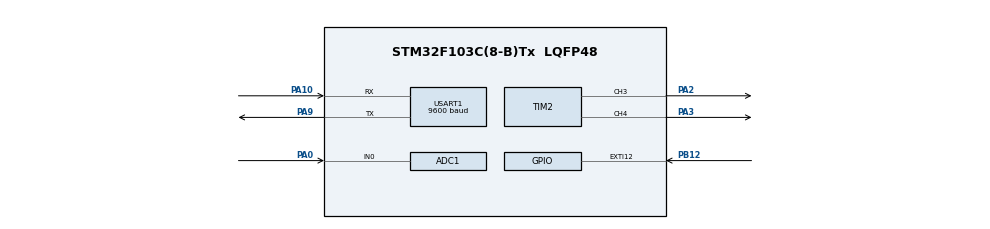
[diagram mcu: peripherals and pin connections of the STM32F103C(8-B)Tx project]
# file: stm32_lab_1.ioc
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ADC1.Channel-1\#ChannelRegularConversion=ADC_CHANNEL_0
ADC1.NbrOfConversionFlag=1
ADC1.Rank-1\#ChannelRegularConversion=1
ADC1.SamplingTime-1\#ChannelRegularConversion=ADC_SAMPLETIME_1CYCLE_5
ADC1.master=1
FREERTOS.Tasks01=defaultTask,0,128,StartDefaultTask,Default,NULL,Dynamic,NULL,NULL
FREERTOS.configUSE_NEWLIB_REENTRANT=1
FREERTOS.configUSE_TIMERS=0
Mcu.Family=STM32F1
Mcu.Name=STM32F103C(8-B)Tx
Mcu.Package=LQFP48
NVIC.EXTI15_10_IRQn=true\:5\:0\:false\:false\:true\:true\:true\:true\:true
NVIC.PriorityGroup=NVIC_PRIORITYGROUP_4
NVIC.TIM4_IRQn=true\:15\:0\:false\:false\:true\:false\:false\:true\:true
NVIC.TimeBase=TIM4_IRQn
NVIC.TimeBaseIP=TIM4
PA0-WKUP.Signal=ADCx_IN0
PA10.Mode=Asynchronous
PA10.Signal=USART1_RX
PA13.Mode=Serial_Wire
PA13.Signal=SYS_JTMS-SWDIO
PA14.Mode=Serial_Wire
PA14.Signal=SYS_JTCK-SWCLK
PA2.Signal=S_TIM2_CH3
PA3.Signal=S_TIM2_CH4
PA9.Mode=Asynchronous
PA9.Signal=USART1_TX
PB12.Signal=GPXTI12
ProjectManager.HeapSize=0x200
ProjectManager.StackSize=0x400
ProjectManager.TargetToolchain=STM32CubeIDE
RCC.APB1Freq_Value=8000000
RCC.APB2Freq_Value=8000000
SH.ADCx_IN0.0=ADC1_IN0,IN0
SH.S_TIM2_CH3.0=TIM2_CH3,PWM Generation3 CH3
SH.S_TIM2_CH4.0=TIM2_CH4,PWM Generation4 CH4
TIM2.Channel-PWM\ Generation3\ CH3=TIM_CHANNEL_3
TIM2.Channel-PWM\ Generation4\ CH4=TIM_CHANNEL_4
USART1.BaudRate=9600
USART1.VirtualMode=VM_ASYNC
VP_FREERTOS_VS_CMSIS_V1.Mode=CMSIS_V1
VP_SYS_VS_tim4.Mode=TIM4
VP_TIM2_VS_ClockSourceINT.Mode=Internal
board=custom

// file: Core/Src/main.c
/* USER CODE BEGIN Header */
/**
  ******************************************************************************
  * @file           : main.c
  * @brief          : Main program body
  ******************************************************************************
  * @attention
  *
  * Copyright (c) 2023 STMicroelectronics.
  * All rights reserved.
  *
  * This software is licensed under terms that can be found in the LICENSE file
  * in the root directory of this software component.
  * If no LICENSE file comes with this software, it is provided AS-IS.
  *
  ******************************************************************************
  */
/* USER CODE END Header */
#include "main.h"
#include "cmsis_os.h"

/* USER CODE BEGIN Includes */
#include <stdbool.h>
#include <string.h>
#include <stdio.h>
/* USER CODE END Includes */

ADC_HandleTypeDef hadc1;

TIM_HandleTypeDef htim2;

UART_HandleTypeDef huart1;

osThreadId defaultTaskHandle;
/* USER CODE BEGIN PV */
osThreadId ledFadeTaskHandle;
osThreadId ledBlinkTaskHandle;
osThreadId buttonTaskHandle;
bool mode_flag = true;
LedMode led_mode = LED_OFF;
/* USER CODE END PV */

void SystemClock_Config(void);
static void MX_GPIO_Init(void);
static void MX_USART1_UART_Init(void);
static void MX_ADC1_Init(void);
static void MX_TIM2_Init(void);
void StartDefaultTask(void const * argument);

/* USER CODE BEGIN PFP */
void LedFadeTask(void const * argument);
void LedBlinkTask(void const * argument);
void ButtonTask(void const * argument);
void SendDataTask(void const * argument);
/* USER CODE END PFP */

int main(void)
{

  /* MCU Configuration--------------------------------------------------------*/

  /* Reset of all peripherals, Initializes the Flash interface and the Systick. */
  HAL_Init();

  /* Configure the system clock */
  SystemClock_Config();

  /* Initialize all configured peripherals */
  MX_GPIO_Init();
  MX_USART1_UART_Init();
  MX_ADC1_Init();
  MX_TIM2_Init();

  /* Create the thread(s) */
  /* definition and creation of defaultTask */
  osThreadDef(defaultTask, StartDefaultTask, osPriorityNormal, 0, 128);
  defaultTaskHandle = osThreadCreate(osThread(defaultTask), NULL);

  /* USER CODE BEGIN RTOS_THREADS */

  osThreadDef(LedFadeTask, LedFadeTask, osPriorityNormal, 0, 128);
  ledFadeTaskHandle = osThreadCreate(osThread(LedFadeTask), NULL);

  osThreadDef(LedBlinkTask, LedBlinkTask, osPriorityNormal, 0, 128);
  ledBlinkTaskHandle = osThreadCreate(osThread(LedBlinkTask), NULL);

  osThreadDef(ButtonTask, ButtonTask, osPriorityNormal, 0, 128);
  buttonTaskHandle = osThreadCreate(osThread(ButtonTask), NULL);

  osThreadDef(SendDataTask, SendDataTask, osPriorityNormal, 0, 128);
  buttonTaskHandle = osThreadCreate(osThread(SendDataTask), NULL);
  /* USER CODE END RTOS_THREADS */

  /* Start scheduler */
  osKernelStart();

  /* We should never get here as control is now taken by the scheduler */
  /* Infinite loop */
  /* USER CODE BEGIN WHILE */
  while (1) { }
  /* USER CODE END 3 */
}

void SystemClock_Config(void)
{
  RCC_OscInitTypeDef RCC_OscInitStruct = {0};
  RCC_ClkInitTypeDef RCC_ClkInitStruct = {0};
  RCC_PeriphCLKInitTypeDef PeriphClkInit = {0};

  /** Initializes the RCC Oscillators according to the specified parameters
  * in the RCC_OscInitTypeDef structure.
  */
  RCC_OscInitStruct.OscillatorType = RCC_OSCILLATORTYPE_HSI;
  RCC_OscInitStruct.HSIState = RCC_HSI_ON;
  RCC_OscInitStruct.HSICalibrationValue = RCC_HSICALIBRATION_DEFAULT;
  RCC_OscInitStruct.PLL.PLLState = RCC_PLL_NONE;
  if (HAL_RCC_OscConfig(&RCC_OscInitStruct) != HAL_OK)
  {
    Error_Handler();
  }

  /** Initializes the CPU, AHB and APB buses clocks
  */
  RCC_ClkInitStruct.ClockType = RCC_CLOCKTYPE_HCLK|RCC_CLOCKTYPE_SYSCLK
                              |RCC_CLOCKTYPE_PCLK1|RCC_CLOCKTYPE_PCLK2;
  RCC_ClkInitStruct.SYSCLKSource = RCC_SYSCLKSOURCE_HSI;
  RCC_ClkInitStruct.AHBCLKDivider = RCC_SYSCLK_DIV1;
  RCC_ClkInitStruct.APB1CLKDivider = RCC_HCLK_DIV1;
  RCC_ClkInitStruct.APB2CLKDivider = RCC_HCLK_DIV1;

  if (HAL_RCC_ClockConfig(&RCC_ClkInitStruct, FLASH_LATENCY_0) != HAL_OK)
  {
    Error_Handler();
  }
  PeriphClkInit.PeriphClockSelection = RCC_PERIPHCLK_ADC;
  PeriphClkInit.AdcClockSelection = RCC_ADCPCLK2_DIV2;
  if (HAL_RCCEx_PeriphCLKConfig(&PeriphClkInit) != HAL_OK)
  {
    Error_Handler();
  }
}

static void MX_ADC1_Init(void)
{

  ADC_ChannelConfTypeDef sConfig = {0};

  /** Common config
  */
  hadc1.Instance = ADC1;
  hadc1.Init.ScanConvMode = ADC_SCAN_DISABLE;
  hadc1.Init.ContinuousConvMode = DISABLE;
  hadc1.Init.DiscontinuousConvMode = DISABLE;
  hadc1.Init.ExternalTrigConv = ADC_SOFTWARE_START;
  hadc1.Init.DataAlign = ADC_DATAALIGN_RIGHT;
  hadc1.Init.NbrOfConversion = 1;
  if (HAL_ADC_Init(&hadc1) != HAL_OK)
  {
    Error_Handler();
  }

  /** Configure Regular Channel
  */
  sConfig.Channel = ADC_CHANNEL_0;
  sConfig.Rank = ADC_REGULAR_RANK_1;
  sConfig.SamplingTime = ADC_SAMPLETIME_1CYCLE_5;
  if (HAL_ADC_ConfigChannel(&hadc1, &sConfig) != HAL_OK)
  {
    Error_Handler();
  }

}

static void MX_TIM2_Init(void)
{

  TIM_ClockConfigTypeDef sClockSourceConfig = {0};
  TIM_MasterConfigTypeDef sMasterConfig = {0};
  TIM_OC_InitTypeDef sConfigOC = {0};

  htim2.Instance = TIM2;
  htim2.Init.Prescaler = 0;
  htim2.Init.CounterMode = TIM_COUNTERMODE_UP;
  htim2.Init.Period = 65535;
  htim2.Init.ClockDivision = TIM_CLOCKDIVISION_DIV1;
  htim2.Init.AutoReloadPreload = TIM_AUTORELOAD_PRELOAD_DISABLE;
  if (HAL_TIM_Base_Init(&htim2) != HAL_OK)
  {
    Error_Handler();
  }
  sClockSourceConfig.ClockSource = TIM_CLOCKSOURCE_INTERNAL;
  if (HAL_TIM_ConfigClockSource(&htim2, &sClockSourceConfig) != HAL_OK)
  {
    Error_Handler();
  }
  if (HAL_TIM_PWM_Init(&htim2) != HAL_OK)
  {
    Error_Handler();
  }
  sMasterConfig.MasterOutputTrigger = TIM_TRGO_RESET;
  sMasterConfig.MasterSlaveMode = TIM_MASTERSLAVEMODE_DISABLE;
  if (HAL_TIMEx_MasterConfigSynchronization(&htim2, &sMasterConfig) != HAL_OK)
  {
    Error_Handler();
  }
  sConfigOC.OCMode = TIM_OCMODE_PWM1;
  sConfigOC.Pulse = 0;
  sConfigOC.OCPolarity = TIM_OCPOLARITY_HIGH;
  sConfigOC.OCFastMode = TIM_OCFAST_DISABLE;
  if (HAL_TIM_PWM_ConfigChannel(&htim2, &sConfigOC, TIM_CHANNEL_3) != HAL_OK)
  {
    Error_Handler();
  }
  if (HAL_TIM_PWM_ConfigChannel(&htim2, &sConfigOC, TIM_CHANNEL_4) != HAL_OK)
  {
    Error_Handler();
  }
  HAL_TIM_MspPostInit(&htim2);

}

static void MX_USART1_UART_Init(void)
{

  huart1.Instance = USART1;
  huart1.Init.BaudRate = 9600;
  huart1.Init.WordLength = UART_WORDLENGTH_8B;
  huart1.Init.StopBits = UART_STOPBITS_1;
  huart1.Init.Parity = UART_PARITY_NONE;
  huart1.Init.Mode = UART_MODE_TX_RX;
  huart1.Init.HwFlowCtl = UART_HWCONTROL_NONE;
  huart1.Init.OverSampling = UART_OVERSAMPLING_16;
  if (HAL_UART_Init(&huart1) != HAL_OK)
  {
    Error_Handler();
  }

}

  static void MX_GPIO_Init(void)
  {
    GPIO_InitTypeDef GPIO_InitStruct = {0};

    /* GPIO Ports Clock Enable */
    __HAL_RCC_GPIOA_CLK_ENABLE();
    __HAL_RCC_GPIOB_CLK_ENABLE();

    /*Configure GPIO pin : PB12 */
    GPIO_InitStruct.Pin = GPIO_PIN_12;
    GPIO_InitStruct.Mode = GPIO_MODE_IT_RISING;
    GPIO_InitStruct.Pull = GPIO_NOPULL;
    HAL_GPIO_Init(GPIOB, &GPIO_InitStruct);

    /* EXTI interrupt init*/
    HAL_NVIC_SetPriority(EXTI15_10_IRQn, 5, 0);
    HAL_NVIC_EnableIRQ(EXTI15_10_IRQn);

  /* USER CODE BEGIN MX_GPIO_Init_2 */
    __HAL_RCC_GPIOC_CLK_ENABLE();
    GPIO_InitStruct.Pin = GPIO_PIN_13;
    GPIO_InitStruct.Mode = GPIO_MODE_OUTPUT_PP;
    GPIO_InitStruct.Pull = GPIO_NOPULL;
    GPIO_InitStruct.Speed = GPIO_SPEED_FREQ_LOW;
    HAL_GPIO_Init(GPIOC, &GPIO_InitStruct);

    GPIO_InitStruct.Pin = GPIO_PIN_0;
    GPIO_InitStruct.Mode = GPIO_MODE_ANALOG;
    GPIO_InitStruct.Pull = GPIO_NOPULL;
    HAL_GPIO_Init(GPIOA, &GPIO_InitStruct);

    GPIO_InitStruct.Pin = GPIO_PIN_2;
    GPIO_InitStruct.Mode = GPIO_MODE_OUTPUT_PP;
    GPIO_InitStruct.Pull = GPIO_NOPULL;
    GPIO_InitStruct.Speed = GPIO_SPEED_FREQ_LOW;
    HAL_GPIO_Init(GPIOA, &GPIO_InitStruct);

    GPIO_InitStruct.Pin = GPIO_PIN_3;
    GPIO_InitStruct.Mode = GPIO_MODE_OUTPUT_PP;
    GPIO_InitStruct.Pull = GPIO_NOPULL;
    GPIO_InitStruct.Speed = GPIO_SPEED_FREQ_LOW;
    HAL_GPIO_Init(GPIOA, &GPIO_InitStruct);

  GPIO_InitStruct.Pin = GPIO_PIN_3;
  GPIO_InitStruct.Mode = GPIO_MODE_OUTPUT_PP;
  GPIO_InitStruct.Pull = GPIO_NOPULL;
  GPIO_InitStruct.Speed = GPIO_SPEED_FREQ_LOW;
  HAL_GPIO_Init(GPIOA, &GPIO_InitStruct);

  GPIO_InitStruct.Pin = GPIO_PIN_12;
  GPIO_InitStruct.Mode = GPIO_MODE_INPUT;
  GPIO_InitStruct.Pull = GPIO_PULLDOWN;
  GPIO_InitStruct.Speed = GPIO_SPEED_FREQ_LOW;
  HAL_GPIO_Init(GPIOB, &GPIO_InitStruct);

/* USER CODE END MX_GPIO_Init_2 */
}

/* USER CODE BEGIN 4 */
void LedFadeTask(void const * argument) {
    uint16_t pwmValue = 0;
    int step = 1500; // шаг изменения коэффициента заполнения

    // Запуск ШИМ на каналах
    HAL_TIM_PWM_Start(&htim2, TIM_CHANNEL_3);
    HAL_TIM_PWM_Start(&htim2, TIM_CHANNEL_4);

    for (;;) {
        __HAL_TIM_SET_COMPARE(&htim2, TIM_CHANNEL_3, pwmValue);
        __HAL_TIM_SET_COMPARE(&htim2, TIM_CHANNEL_4, pwmValue);

        pwmValue += step;
        if (pwmValue < 1500 || pwmValue >= 64035) {
            step = -step; // Меняем направление изменения яркости
        }

        osDelay(50); // Регулируйте это значение для изменения скорости затухания/возгорания
    }

}

void LedBlinkTask(void const * argument) {
  for(;;) {
	  HAL_GPIO_TogglePin(GPIOA, GPIO_PIN_3);
	  HAL_GPIO_WritePin(GPIOA, GPIO_PIN_2, !(GPIOA->ODR & GPIO_PIN_3));
	  osDelay(1000);
  }
}

void SwitchPinMode(GPIO_TypeDef* GPIOx, uint16_t GPIO_Pin, uint32_t mode) {
    GPIO_InitTypeDef GPIO_InitStruct = {0};

    // Очистить старую конфигурацию пина
    HAL_GPIO_DeInit(GPIOx, GPIO_Pin);

    // Настроить пин в соответствии с выбранным режимом
    GPIO_InitStruct.Pin = GPIO_Pin;
    GPIO_InitStruct.Pull = GPIO_NOPULL;
    GPIO_InitStruct.Speed = GPIO_SPEED_FREQ_LOW;

    if (mode == GPIO_MODE_OUTPUT_PP) {
        GPIO_InitStruct.Mode = GPIO_MODE_OUTPUT_PP;
        HAL_GPIO_Init(GPIOx, &GPIO_InitStruct);
    } else if (mode == GPIO_MODE_AF_PP) {
        GPIO_InitStruct.Mode = GPIO_MODE_AF_PP;
        HAL_GPIO_Init(GPIOx, &GPIO_InitStruct);
    }
}

void applyMode(LedMode mode) {
	if(0 == mode) {
		osThreadSuspend(ledBlinkTaskHandle);
		osThreadSuspend(ledFadeTaskHandle);
		SwitchPinMode(GPIOA, GPIO_PIN_2, GPIO_MODE_OUTPUT_PP);
		SwitchPinMode(GPIOA, GPIO_PIN_3, GPIO_MODE_OUTPUT_PP);
		HAL_GPIO_WritePin(GPIOA, GPIO_PIN_2, GPIO_PIN_RESET);
		HAL_GPIO_WritePin(GPIOA, GPIO_PIN_3, GPIO_PIN_RESET);
	} else if(1 == mode) {
		osThreadSuspend(ledBlinkTaskHandle);
		osThreadSuspend(ledFadeTaskHandle);
		HAL_GPIO_WritePin(GPIOA, GPIO_PIN_2, GPIO_PIN_SET);
		HAL_GPIO_WritePin(GPIOA, GPIO_PIN_3, GPIO_PIN_SET);
	} else if(2 == mode) {
		osThreadSuspend(ledFadeTaskHandle);
		osThreadResume(ledBlinkTaskHandle);
	} else if(3 == mode) {
		osThreadSuspend(ledBlinkTaskHandle);
		SwitchPinMode(GPIOA, GPIO_PIN_2, GPIO_MODE_AF_PP);
		SwitchPinMode(GPIOA, GPIO_PIN_3, GPIO_MODE_AF_PP);
        osThreadResume(ledFadeTaskHandle);
	}
}

void ButtonTask(void const * argument) {
  for(;;) {
	  applyMode(led_mode);
	  osDelay(500);
  }

}

void SendDataTask(void const * argument) {
	uint16_t analogValue = 0;
	char buffer[64] = {0};
	for(;;) {
		strcpy(buffer, "Gabella\r\n\0");
		HAL_ADC_Start(&hadc1);
		if (HAL_ADC_PollForConversion(&hadc1, 1000) == HAL_OK) {
			analogValue = HAL_ADC_GetValue(&hadc1);
			sprintf(buffer, "Mode is %d, Soil is %u\r\n", (int)led_mode, analogValue);
		}
		HAL_ADC_Stop(&hadc1);
		HAL_UART_Transmit(&huart1, (uint8_t *)buffer, strlen(buffer), HAL_MAX_DELAY);
		osDelay(2000);
	}
}
/* USER CODE END 4 */

void StartDefaultTask(void const * argument)
{
  /* USER CODE BEGIN 5 */
  /* Infinite loop */
  for(;;) {
	  if((GPIOA->ODR & GPIO_PIN_2) && (GPIOA->ODR & GPIO_PIN_3)) {
		  GPIOC->ODR &= ~GPIO_PIN_13;
	  } else {
		  GPIOC->ODR |= GPIO_PIN_13;
	  }
  }
  /* USER CODE END 5 */
}

void HAL_TIM_PeriodElapsedCallback(TIM_HandleTypeDef *htim)
{
  if (htim->Instance == TIM4) {
    HAL_IncTick();
  }
}

void Error_Handler(void)
{
  __disable_irq();
  while (1)
  {
  }
}
